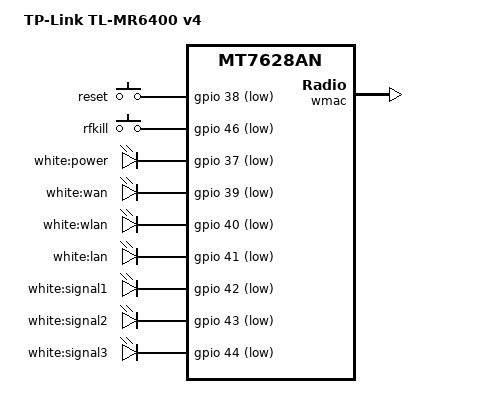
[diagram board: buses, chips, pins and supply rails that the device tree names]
// SPDX-License-Identifier: GPL-2.0-or-later OR MIT

#include "mt7628an_tplink_8m.dtsi"

/ {
	compatible = "tplink,tl-mr6400-v4", "mediatek,mt7628an-soc";
	model = "TP-Link TL-MR6400 v4";

	aliases {
		led-boot = &led_power;
		led-failsafe = &led_power;
		led-running = &led_power;
		led-upgrade = &led_power;
	};

	keys {
		compatible = "gpio-keys";

		reset {
			label = "reset";
			gpios = <&gpio 38 GPIO_ACTIVE_LOW>;
			linux,code = <KEY_RESTART>;
		};

		rfkill {
			label = "rfkill";
			gpios = <&gpio 46 GPIO_ACTIVE_LOW>;
			linux,code = <KEY_RFKILL>;
		};
	};

	leds {
		compatible = "gpio-leds";

		led_power: power {
			label = "white:power";
			gpios = <&gpio 37 GPIO_ACTIVE_LOW>;
		};

		wan {
			label = "white:wan";
			gpios = <&gpio 39 GPIO_ACTIVE_LOW>;
		};

		wlan {
			label = "white:wlan";
			gpios = <&gpio 40 GPIO_ACTIVE_LOW>;
			linux,default-trigger = "phy0tpt";
		};

		lan {
			label = "white:lan";
			gpios = <&gpio 41 GPIO_ACTIVE_LOW>;
		};

		signal1 {
			label = "white:signal1";
			gpios = <&gpio 42 GPIO_ACTIVE_LOW>;
		};

		signal2 {
			label = "white:signal2";
			gpios = <&gpio 43 GPIO_ACTIVE_LOW>;
		};

		signal3 {
			label = "white:signal3";
			gpios = <&gpio 44 GPIO_ACTIVE_LOW>;
		};
	};
};

&state_default {
	gpio {
		groups = "p0led_an", "p1led_an", "p2led_an", "p3led_an", "p4led_an", "refclk", "uart1", "wdt", "wled_an";
		function = "gpio";
	};
};

&esw {
	mediatek,portmap = <0x2f>;
	mediatek,portdisable = <0x21>;
};

&wmac {
	mtd-mac-address = <&factory 0x1f100>;
};

&ethernet {
	mtd-mac-address = <&factory 0x1f100>;
};
